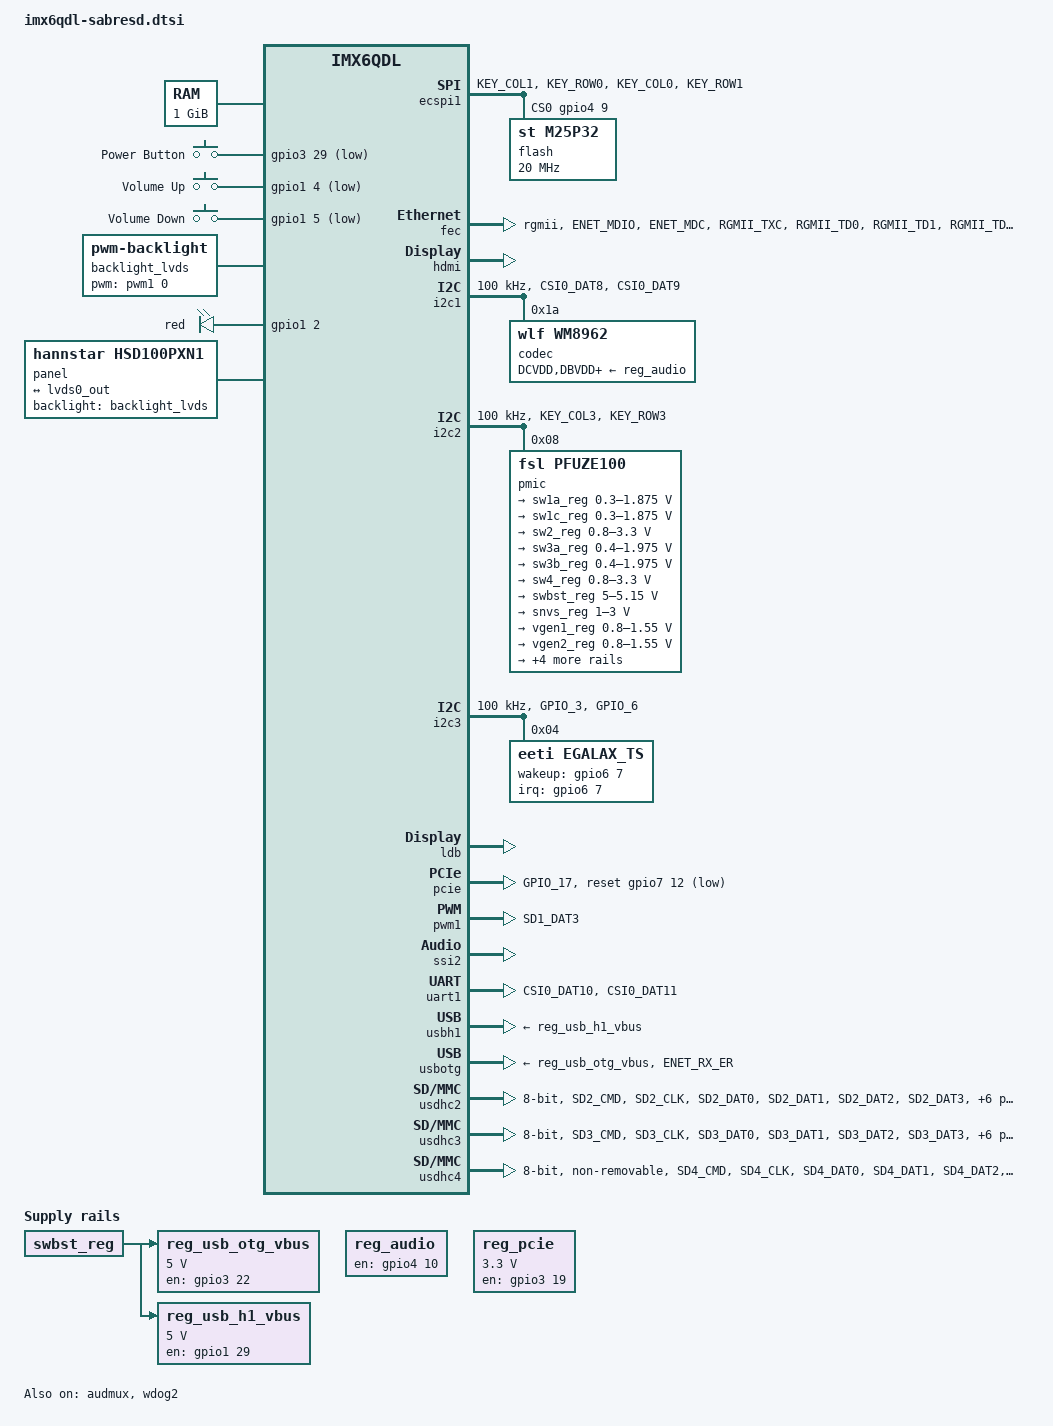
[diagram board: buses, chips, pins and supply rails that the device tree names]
/*
 * Copyright 2012 Freescale Semiconductor, Inc.
 * Copyright 2011 Linaro Ltd.
 *
 * The code contained herein is licensed under the GNU General Public
 * License. You may obtain a copy of the GNU General Public License
 * Version 2 or later at the following locations:
 *
 * http://www.opensource.org/licenses/gpl-license.html
 * http://www.gnu.org/copyleft/gpl.html
 */

#include <dt-bindings/gpio/gpio.h>
#include <dt-bindings/input/input.h>

/ {
	chosen {
		stdout-path = &uart1;
	};

	memory {
		reg = <0x10000000 0x40000000>;
	};

	regulators {
		compatible = "simple-bus";
		#address-cells = <1>;
		#size-cells = <0>;

		reg_usb_otg_vbus: regulator@0 {
			compatible = "regulator-fixed";
			reg = <0>;
			regulator-name = "usb_otg_vbus";
			regulator-min-microvolt = <5000000>;
			regulator-max-microvolt = <5000000>;
			gpio = <&gpio3 22 0>;
			enable-active-high;
			vin-supply = <&swbst_reg>;
		};

		reg_usb_h1_vbus: regulator@1 {
			compatible = "regulator-fixed";
			reg = <1>;
			regulator-name = "usb_h1_vbus";
			regulator-min-microvolt = <5000000>;
			regulator-max-microvolt = <5000000>;
			gpio = <&gpio1 29 0>;
			enable-active-high;
			vin-supply = <&swbst_reg>;
		};

		reg_audio: regulator@2 {
			compatible = "regulator-fixed";
			reg = <2>;
			regulator-name = "wm8962-supply";
			gpio = <&gpio4 10 0>;
			enable-active-high;
		};

		reg_pcie: regulator@3 {
			compatible = "regulator-fixed";
			reg = <3>;
			pinctrl-names = "default";
			pinctrl-0 = <&pinctrl_pcie_reg>;
			regulator-name = "MPCIE_3V3";
			regulator-min-microvolt = <3300000>;
			regulator-max-microvolt = <3300000>;
			gpio = <&gpio3 19 0>;
			regulator-always-on;
			enable-active-high;
		};
	};

	gpio-keys {
		compatible = "gpio-keys";
		pinctrl-names = "default";
		pinctrl-0 = <&pinctrl_gpio_keys>;

		power {
			label = "Power Button";
			gpios = <&gpio3 29 GPIO_ACTIVE_LOW>;
			wakeup-source;
			linux,code = <KEY_POWER>;
		};

		volume-up {
			label = "Volume Up";
			gpios = <&gpio1 4 GPIO_ACTIVE_LOW>;
			wakeup-source;
			linux,code = <KEY_VOLUMEUP>;
		};

		volume-down {
			label = "Volume Down";
			gpios = <&gpio1 5 GPIO_ACTIVE_LOW>;
			wakeup-source;
			linux,code = <KEY_VOLUMEDOWN>;
		};
	};

	sound {
		compatible = "fsl,imx6q-sabresd-wm8962",
			   "fsl,imx-audio-wm8962";
		model = "wm8962-audio";
		ssi-controller = <&ssi2>;
		audio-codec = <&codec>;
		audio-routing =
			"Headphone Jack", "HPOUTL",
			"Headphone Jack", "HPOUTR",
			"Ext Spk", "SPKOUTL",
			"Ext Spk", "SPKOUTR",
			"AMIC", "MICBIAS",
			"IN3R", "AMIC";
		mux-int-port = <2>;
		mux-ext-port = <3>;
	};

	backlight_lvds: backlight-lvds {
		compatible = "pwm-backlight";
		pwms = <&pwm1 0 5000000>;
		brightness-levels = <0 4 8 16 32 64 128 255>;
		default-brightness-level = <7>;
		status = "okay";
	};

	leds {
		compatible = "gpio-leds";
		pinctrl-names = "default";
		pinctrl-0 = <&pinctrl_gpio_leds>;

		red {
			gpios = <&gpio1 2 0>;
			default-state = "on";
		};
	};

	panel {
		compatible = "hannstar,hsd100pxn1";
		backlight = <&backlight_lvds>;

		port {
			panel_in: endpoint {
				remote-endpoint = <&lvds0_out>;
			};
		};
	};
};

&audmux {
	pinctrl-names = "default";
	pinctrl-0 = <&pinctrl_audmux>;
	status = "okay";
};

&clks {
	assigned-clocks = <&clks IMX6QDL_CLK_LDB_DI0_SEL>,
			  <&clks IMX6QDL_CLK_LDB_DI1_SEL>;
	assigned-clock-parents = <&clks IMX6QDL_CLK_PLL3_USB_OTG>,
				 <&clks IMX6QDL_CLK_PLL3_USB_OTG>;
};

&ecspi1 {
	cs-gpios = <&gpio4 9 0>;
	pinctrl-names = "default";
	pinctrl-0 = <&pinctrl_ecspi1>;
	status = "okay";

	flash: m25p80@0 {
		#address-cells = <1>;
		#size-cells = <1>;
		compatible = "st,m25p32", "jedec,spi-nor";
		spi-max-frequency = <20000000>;
		reg = <0>;
	};
};

&fec {
	pinctrl-names = "default";
	pinctrl-0 = <&pinctrl_enet>;
	phy-mode = "rgmii";
	phy-reset-gpios = <&gpio1 25 0>;
	status = "okay";
};

&hdmi {
	ddc-i2c-bus = <&i2c2>;
	status = "okay";
};

&i2c1 {
	clock-frequency = <100000>;
	pinctrl-names = "default";
	pinctrl-0 = <&pinctrl_i2c1>;
	status = "okay";

	codec: wm8962@1a {
		compatible = "wlf,wm8962";
		reg = <0x1a>;
		clocks = <&clks IMX6QDL_CLK_CKO>;
		DCVDD-supply = <&reg_audio>;
		DBVDD-supply = <&reg_audio>;
		AVDD-supply = <&reg_audio>;
		CPVDD-supply = <&reg_audio>;
		MICVDD-supply = <&reg_audio>;
		PLLVDD-supply = <&reg_audio>;
		SPKVDD1-supply = <&reg_audio>;
		SPKVDD2-supply = <&reg_audio>;
		gpio-cfg = <
			0x0000 /* 0:Default */
			0x0000 /* 1:Default */
			0x0013 /* 2:FN_DMICCLK */
			0x0000 /* 3:Default */
			0x8014 /* 4:FN_DMICCDAT */
			0x0000 /* 5:Default */
		>;
       };
};

&i2c2 {
	clock-frequency = <100000>;
	pinctrl-names = "default";
	pinctrl-0 = <&pinctrl_i2c2>;
	status = "okay";

	pmic: pfuze100@08 {
		compatible = "fsl,pfuze100";
		reg = <0x08>;

		regulators {
			sw1a_reg: sw1ab {
				regulator-min-microvolt = <300000>;
				regulator-max-microvolt = <1875000>;
				regulator-boot-on;
				regulator-always-on;
				regulator-ramp-delay = <6250>;
			};

			sw1c_reg: sw1c {
				regulator-min-microvolt = <300000>;
				regulator-max-microvolt = <1875000>;
				regulator-boot-on;
				regulator-always-on;
				regulator-ramp-delay = <6250>;
			};

			sw2_reg: sw2 {
				regulator-min-microvolt = <800000>;
				regulator-max-microvolt = <3300000>;
				regulator-boot-on;
				regulator-always-on;
				regulator-ramp-delay = <6250>;
			};

			sw3a_reg: sw3a {
				regulator-min-microvolt = <400000>;
				regulator-max-microvolt = <1975000>;
				regulator-boot-on;
				regulator-always-on;
			};

			sw3b_reg: sw3b {
				regulator-min-microvolt = <400000>;
				regulator-max-microvolt = <1975000>;
				regulator-boot-on;
				regulator-always-on;
			};

			sw4_reg: sw4 {
				regulator-min-microvolt = <800000>;
				regulator-max-microvolt = <3300000>;
			};

			swbst_reg: swbst {
				regulator-min-microvolt = <5000000>;
				regulator-max-microvolt = <5150000>;
			};

			snvs_reg: vsnvs {
				regulator-min-microvolt = <1000000>;
				regulator-max-microvolt = <3000000>;
				regulator-boot-on;
				regulator-always-on;
			};

			vref_reg: vrefddr {
				regulator-boot-on;
				regulator-always-on;
			};

			vgen1_reg: vgen1 {
				regulator-min-microvolt = <800000>;
				regulator-max-microvolt = <1550000>;
			};

			vgen2_reg: vgen2 {
				regulator-min-microvolt = <800000>;
				regulator-max-microvolt = <1550000>;
			};

			vgen3_reg: vgen3 {
				regulator-min-microvolt = <1800000>;
				regulator-max-microvolt = <3300000>;
			};

			vgen4_reg: vgen4 {
				regulator-min-microvolt = <1800000>;
				regulator-max-microvolt = <3300000>;
				regulator-always-on;
			};

			vgen5_reg: vgen5 {
				regulator-min-microvolt = <1800000>;
				regulator-max-microvolt = <3300000>;
				regulator-always-on;
			};

			vgen6_reg: vgen6 {
				regulator-min-microvolt = <1800000>;
				regulator-max-microvolt = <3300000>;
				regulator-always-on;
			};
		};
	};
};

&i2c3 {
	clock-frequency = <100000>;
	pinctrl-names = "default";
	pinctrl-0 = <&pinctrl_i2c3>;
	status = "okay";

	egalax_ts@04 {
		compatible = "eeti,egalax_ts";
		reg = <0x04>;
		interrupt-parent = <&gpio6>;
		interrupts = <7 2>;
		wakeup-gpios = <&gpio6 7 0>;
	};
};

&iomuxc {
	pinctrl-names = "default";
	pinctrl-0 = <&pinctrl_hog>;

	imx6qdl-sabresd {
		pinctrl_hog: hoggrp {
			fsl,pins = <
				MX6QDL_PAD_NANDF_D0__GPIO2_IO00 0x1b0b0
				MX6QDL_PAD_NANDF_D1__GPIO2_IO01 0x1b0b0
				MX6QDL_PAD_NANDF_D2__GPIO2_IO02 0x1b0b0
				MX6QDL_PAD_NANDF_D3__GPIO2_IO03 0x1b0b0
				MX6QDL_PAD_GPIO_0__CCM_CLKO1    0x130b0
				MX6QDL_PAD_NANDF_CLE__GPIO6_IO07 0x1b0b0
				MX6QDL_PAD_ENET_TXD1__GPIO1_IO29 0x1b0b0
				MX6QDL_PAD_EIM_D22__GPIO3_IO22  0x1b0b0
				MX6QDL_PAD_ENET_CRS_DV__GPIO1_IO25 0x1b0b0
			>;
		};

		pinctrl_audmux: audmuxgrp {
			fsl,pins = <
				MX6QDL_PAD_CSI0_DAT7__AUD3_RXD		0x130b0
				MX6QDL_PAD_CSI0_DAT4__AUD3_TXC		0x130b0
				MX6QDL_PAD_CSI0_DAT5__AUD3_TXD		0x110b0
				MX6QDL_PAD_CSI0_DAT6__AUD3_TXFS		0x130b0
			>;
		};

		pinctrl_ecspi1: ecspi1grp {
			fsl,pins = <
				MX6QDL_PAD_KEY_COL1__ECSPI1_MISO	0x100b1
				MX6QDL_PAD_KEY_ROW0__ECSPI1_MOSI	0x100b1
				MX6QDL_PAD_KEY_COL0__ECSPI1_SCLK	0x100b1
				MX6QDL_PAD_KEY_ROW1__GPIO4_IO09		0x1b0b0
			>;
		};

		pinctrl_enet: enetgrp {
			fsl,pins = <
				MX6QDL_PAD_ENET_MDIO__ENET_MDIO		0x1b0b0
				MX6QDL_PAD_ENET_MDC__ENET_MDC		0x1b0b0
				MX6QDL_PAD_RGMII_TXC__RGMII_TXC		0x1b030
				MX6QDL_PAD_RGMII_TD0__RGMII_TD0		0x1b030
				MX6QDL_PAD_RGMII_TD1__RGMII_TD1		0x1b030
				MX6QDL_PAD_RGMII_TD2__RGMII_TD2		0x1b030
				MX6QDL_PAD_RGMII_TD3__RGMII_TD3		0x1b030
				MX6QDL_PAD_RGMII_TX_CTL__RGMII_TX_CTL	0x1b030
				MX6QDL_PAD_ENET_REF_CLK__ENET_TX_CLK	0x1b0b0
				MX6QDL_PAD_RGMII_RXC__RGMII_RXC		0x1b030
				MX6QDL_PAD_RGMII_RD0__RGMII_RD0		0x1b030
				MX6QDL_PAD_RGMII_RD1__RGMII_RD1		0x1b030
				MX6QDL_PAD_RGMII_RD2__RGMII_RD2		0x1b030
				MX6QDL_PAD_RGMII_RD3__RGMII_RD3		0x1b030
				MX6QDL_PAD_RGMII_RX_CTL__RGMII_RX_CTL	0x1b030
				MX6QDL_PAD_GPIO_16__ENET_REF_CLK	0x4001b0a8
			>;
		};

		pinctrl_gpio_keys: gpio_keysgrp {
			fsl,pins = <
				MX6QDL_PAD_EIM_D29__GPIO3_IO29 0x1b0b0
				MX6QDL_PAD_GPIO_4__GPIO1_IO04  0x1b0b0
				MX6QDL_PAD_GPIO_5__GPIO1_IO05  0x1b0b0
			>;
		};

		pinctrl_i2c1: i2c1grp {
			fsl,pins = <
				MX6QDL_PAD_CSI0_DAT8__I2C1_SDA		0x4001b8b1
				MX6QDL_PAD_CSI0_DAT9__I2C1_SCL		0x4001b8b1
			>;
		};

		pinctrl_i2c2: i2c2grp {
			fsl,pins = <
				MX6QDL_PAD_KEY_COL3__I2C2_SCL		0x4001b8b1
				MX6QDL_PAD_KEY_ROW3__I2C2_SDA		0x4001b8b1
			>;
		};

		pinctrl_i2c3: i2c3grp {
			fsl,pins = <
				MX6QDL_PAD_GPIO_3__I2C3_SCL		0x4001b8b1
				MX6QDL_PAD_GPIO_6__I2C3_SDA		0x4001b8b1
			>;
		};

		pinctrl_pcie: pciegrp {
			fsl,pins = <
				MX6QDL_PAD_GPIO_17__GPIO7_IO12	0x1b0b0
			>;
		};

		pinctrl_pcie_reg: pciereggrp {
			fsl,pins = <
				MX6QDL_PAD_EIM_D19__GPIO3_IO19	0x1b0b0
			>;
		};

		pinctrl_pwm1: pwm1grp {
			fsl,pins = <
				MX6QDL_PAD_SD1_DAT3__PWM1_OUT		0x1b0b1
			>;
		};

		pinctrl_uart1: uart1grp {
			fsl,pins = <
				MX6QDL_PAD_CSI0_DAT10__UART1_TX_DATA	0x1b0b1
				MX6QDL_PAD_CSI0_DAT11__UART1_RX_DATA	0x1b0b1
			>;
		};

		pinctrl_usbotg: usbotggrp {
			fsl,pins = <
				MX6QDL_PAD_ENET_RX_ER__USB_OTG_ID	0x17059
			>;
		};

		pinctrl_usdhc2: usdhc2grp {
			fsl,pins = <
				MX6QDL_PAD_SD2_CMD__SD2_CMD		0x17059
				MX6QDL_PAD_SD2_CLK__SD2_CLK		0x10059
				MX6QDL_PAD_SD2_DAT0__SD2_DATA0		0x17059
				MX6QDL_PAD_SD2_DAT1__SD2_DATA1		0x17059
				MX6QDL_PAD_SD2_DAT2__SD2_DATA2		0x17059
				MX6QDL_PAD_SD2_DAT3__SD2_DATA3		0x17059
				MX6QDL_PAD_NANDF_D4__SD2_DATA4		0x17059
				MX6QDL_PAD_NANDF_D5__SD2_DATA5		0x17059
				MX6QDL_PAD_NANDF_D6__SD2_DATA6		0x17059
				MX6QDL_PAD_NANDF_D7__SD2_DATA7		0x17059
			>;
		};

		pinctrl_usdhc3: usdhc3grp {
			fsl,pins = <
				MX6QDL_PAD_SD3_CMD__SD3_CMD		0x17059
				MX6QDL_PAD_SD3_CLK__SD3_CLK		0x10059
				MX6QDL_PAD_SD3_DAT0__SD3_DATA0		0x17059
				MX6QDL_PAD_SD3_DAT1__SD3_DATA1		0x17059
				MX6QDL_PAD_SD3_DAT2__SD3_DATA2		0x17059
				MX6QDL_PAD_SD3_DAT3__SD3_DATA3		0x17059
				MX6QDL_PAD_SD3_DAT4__SD3_DATA4		0x17059
				MX6QDL_PAD_SD3_DAT5__SD3_DATA5		0x17059
				MX6QDL_PAD_SD3_DAT6__SD3_DATA6		0x17059
				MX6QDL_PAD_SD3_DAT7__SD3_DATA7		0x17059
			>;
		};

		pinctrl_usdhc4: usdhc4grp {
			fsl,pins = <
				MX6QDL_PAD_SD4_CMD__SD4_CMD		0x17059
				MX6QDL_PAD_SD4_CLK__SD4_CLK		0x10059
				MX6QDL_PAD_SD4_DAT0__SD4_DATA0		0x17059
				MX6QDL_PAD_SD4_DAT1__SD4_DATA1		0x17059
				MX6QDL_PAD_SD4_DAT2__SD4_DATA2		0x17059
				MX6QDL_PAD_SD4_DAT3__SD4_DATA3		0x17059
				MX6QDL_PAD_SD4_DAT4__SD4_DATA4		0x17059
				MX6QDL_PAD_SD4_DAT5__SD4_DATA5		0x17059
				MX6QDL_PAD_SD4_DAT6__SD4_DATA6		0x17059
				MX6QDL_PAD_SD4_DAT7__SD4_DATA7		0x17059
			>;
		};

		pinctrl_wdog: wdoggrp {
			fsl,pins = <
				MX6QDL_PAD_GPIO_1__WDOG2_B		0x1b0b0
			>;
		};
	};

	gpio_leds {
		pinctrl_gpio_leds: gpioledsgrp {
			fsl,pins = <
				MX6QDL_PAD_GPIO_2__GPIO1_IO02 0x1b0b0
			>;
		};
	};
};

&ldb {
	status = "okay";

	lvds-channel@1 {
		fsl,data-mapping = "spwg";
		fsl,data-width = <18>;
		status = "okay";

		port@4 {
			reg = <4>;

			lvds0_out: endpoint {
				remote-endpoint = <&panel_in>;
			};
		};
	};
};

&pcie {
	pinctrl-names = "default";
	pinctrl-0 = <&pinctrl_pcie>;
	reset-gpio = <&gpio7 12 GPIO_ACTIVE_LOW>;
	status = "okay";
};

&pwm1 {
	pinctrl-names = "default";
	pinctrl-0 = <&pinctrl_pwm1>;
	status = "okay";
};

&reg_arm {
       vin-supply = <&sw1a_reg>;
};

&reg_pu {
       vin-supply = <&sw1c_reg>;
};

&reg_soc {
       vin-supply = <&sw1c_reg>;
};

&snvs_poweroff {
	status = "okay";
};

&ssi2 {
	status = "okay";
};

&uart1 {
	pinctrl-names = "default";
	pinctrl-0 = <&pinctrl_uart1>;
	status = "okay";
};

&usbh1 {
	vbus-supply = <&reg_usb_h1_vbus>;
	status = "okay";
};

&usbotg {
	vbus-supply = <&reg_usb_otg_vbus>;
	pinctrl-names = "default";
	pinctrl-0 = <&pinctrl_usbotg>;
	disable-over-current;
	status = "okay";
};

&usdhc2 {
	pinctrl-names = "default";
	pinctrl-0 = <&pinctrl_usdhc2>;
	bus-width = <8>;
	cd-gpios = <&gpio2 2 GPIO_ACTIVE_LOW>;
	wp-gpios = <&gpio2 3 GPIO_ACTIVE_HIGH>;
	status = "okay";
};

&usdhc3 {
	pinctrl-names = "default";
	pinctrl-0 = <&pinctrl_usdhc3>;
	bus-width = <8>;
	cd-gpios = <&gpio2 0 GPIO_ACTIVE_LOW>;
	wp-gpios = <&gpio2 1 GPIO_ACTIVE_HIGH>;
	status = "okay";
};

&usdhc4 {
	pinctrl-names = "default";
	pinctrl-0 = <&pinctrl_usdhc4>;
	bus-width = <8>;
	non-removable;
	no-1-8-v;
	status = "okay";
};

&wdog1 {
	status = "disabled";
};

&wdog2 {
	pinctrl-names = "default";
	pinctrl-0 = <&pinctrl_wdog>;
	fsl,ext-reset-output;
	status = "okay";
};
